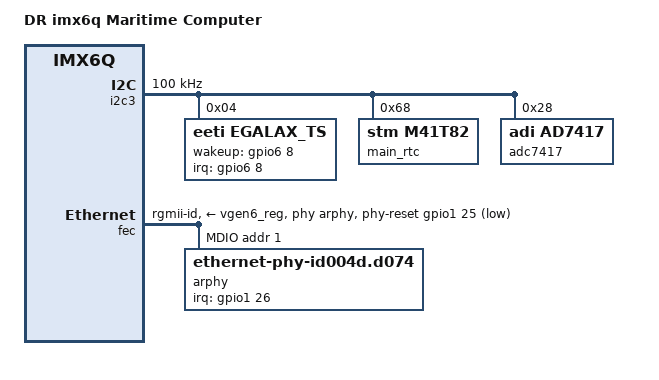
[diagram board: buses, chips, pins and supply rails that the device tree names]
/*
 * Copyright 2015 DATA RESPONS AS
 * Copyright 2012 Freescale Semiconductor, Inc.
 * Copyright 2011 Linaro Ltd.
 *
 * The code contained herein is licensed under the GNU General Public
 * License. You may obtain a copy of the GNU General Public License
 * Version 2 or later at the following locations:
 *
 * http://www.opensource.org/licenses/gpl-license.html
 * http://www.gnu.org/copyleft/gpl.html
 */

/dts-v1/;

#include "imx6q.dtsi"
#include "mxxf1-common.dtsi"
#include <dt-bindings/net/qca-ar803x.h>

/ {
	model = "DR imx6q Maritime Computer";
	compatible = "fsl,imx6q";
};

&i2c3 {
	clock-frequency = <100000>;
	pinctrl-names = "default";
	pinctrl-0 = <&pinctrl_i2c3>;
	status = "okay";

	egalax_ts@4 {
		compatible = "eeti,egalax_ts";
		reg = <0x04>;
		interrupt-parent = <&gpio6>;
		interrupts = <8 2>;
		wakeup-gpios = <&gpio6 8 0>;
		disable-suspend = <1>;
		};

	main_rtc: rtc@68 {
		compatible = "stm,m41t82";
		reg = <0x68>;
		};

	adc7417@28 {
		compatible = "adi,ad7417";
		reg = <0x28>;
		};
};

&fec {
	pinctrl-names = "default";
	pinctrl-0 = <&pinctrl_enet_lm>;
	phy-mode = "rgmii-id";
	status = "okay";
	phy-reset-duration = <10>;
	phy-reset-gpios = <&gpio1 25 GPIO_ACTIVE_LOW>;
	phy-handle = <&arphy>;
	phy-supply = <&vgen6_reg>;
	mdio {
		#address-cells = <1>;
		#size-cells = <0>;
		arphy: ethernet-phy@1 {
			compatible = "ethernet-phy-id004d.d074";
			qca,clk-out-frequency = <125000000>;
			qca,clk-out-strength = <AR803X_STRENGTH_FULL>;
			qca,keep-pll-enabled;
			at803x,eee-disabled;
			reg = <0x1>;
			interrupt-parent = <&gpio1>;
			interrupts = <26 IRQ_TYPE_EDGE_FALLING>;
	   };
	};
};
